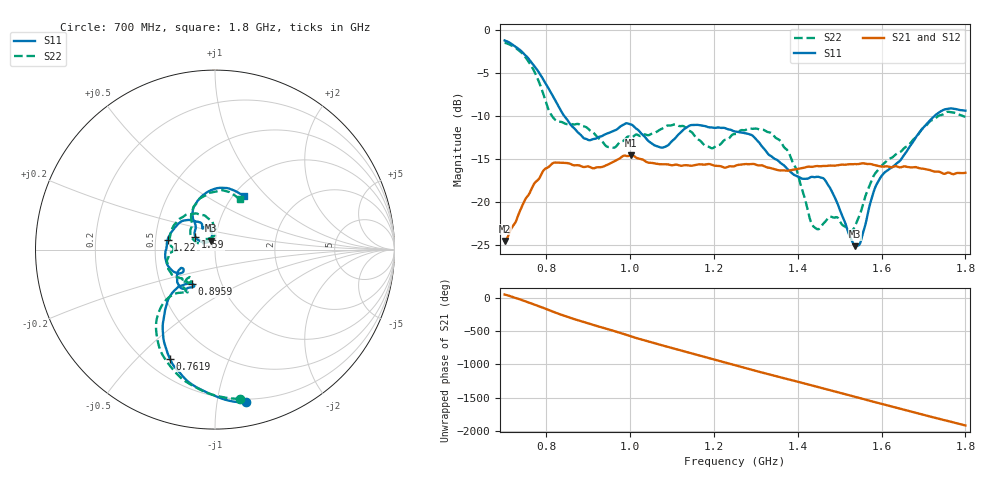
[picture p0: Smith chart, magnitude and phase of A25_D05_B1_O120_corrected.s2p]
! Created with skrf 1.9.0 (http://scikit-rf.org).
# Hz S RI R 50.0
!freq ReS11 ImS11 ReS21 ImS21 ReS12 ImS12 ReS22 ImS22
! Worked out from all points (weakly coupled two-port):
!   1601 points, 700 MHz to 1.8 GHz, reference 50 ohm
!   highest |S21| = -14.59 dB at 1.002 GHz (marker M1); lowest = -24.6 dB at 700.7 MHz (marker M2)
!   lowest |S11| = -25.2 dB at 1.537 GHz (marker M3), VSWR 1.12, Z = 47.4 + j4.7 ohm
!   |S11| at or under -10 dB: 842.1 MHz to 1.727 GHz (884.6 MHz wide, 68.9 % of centre)
!   |S22| runs from -23.5 to -1.5 dB; largest |S21 - S12| = 0.0034
!   S11 on the Smith chart (normalised r, x): 700 MHz: 0.17, -1.21; 761.9 MHz: 0.29, -0.63; 895.9 MHz: 0.72, -0.29; 1.22 GHz: 0.58, +0.07; 1.59 GHz: 0.80, +0.11; 1.8 GHz: 1.12, +0.75
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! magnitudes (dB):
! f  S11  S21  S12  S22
! 700 MHz  -1.2  -24.6  -24.3  -1.5
! 700.7 MHz  -1.2  -24.6  -24.3  -1.5
! 761.9 MHz  -3.6  -18.8  -18.7  -4.0
! 816.9 MHz  -7.8  -15.5  -15.6  -10.3
! 883.6 MHz  -12.3  -15.9  -15.8  -11.1
! 895.9 MHz  -12.7  -15.9  -16.0  -11.4
! 948.2 MHz  -12.0  -15.6  -15.7  -13.6
! 1.002 GHz  -11.0  -14.6  -14.7  -12.5
! 1.067 GHz  -13.6  -15.6  -15.6  -11.7
! 1.144 GHz  -11.1  -15.8  -15.8  -11.8
! 1.22 GHz  -11.4  -16.0  -16.0  -13.0
! 1.25 GHz  -11.8  -15.8  -15.8  -12.1
! 1.357 GHz  -15.4  -16.4  -16.3  -12.9
! 1.396 GHz  -17.0  -16.2  -16.2  -16.2
! 1.434 GHz  -17.1  -15.9  -15.9  -22.6
! 1.471 GHz  -18.0  -15.8  -15.8  -21.9
! 1.537 GHz  -25.2  -15.6  -15.6  -22.8
! 1.55 GHz  -24.6  -15.5  -15.6  -21.2
! 1.59 GHz  -17.8  -15.8  -15.8  -16.4
! 1.617 GHz  -16.2  -15.9  -15.9  -15.0
! 1.733 GHz  -9.7  -16.5  -16.5  -10.1
! 1.8 GHz  -9.4  -16.6  -16.6  -10.1
